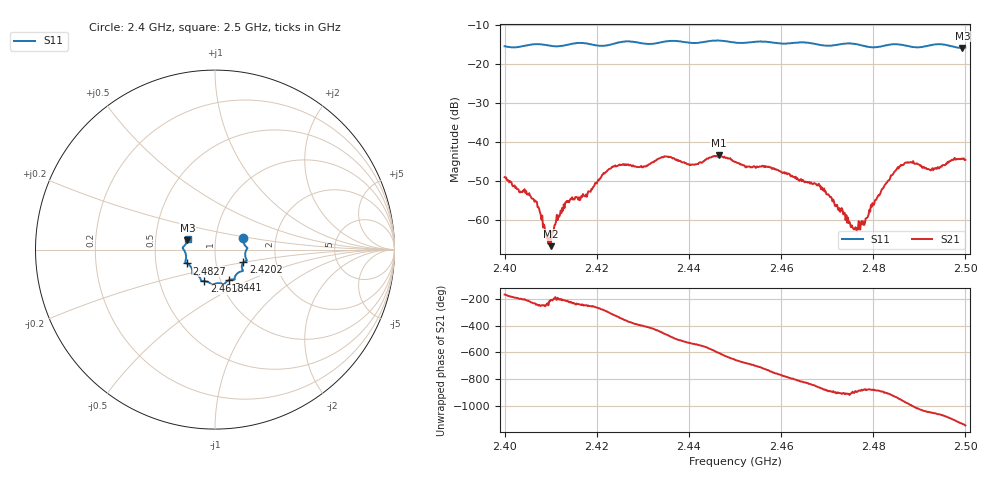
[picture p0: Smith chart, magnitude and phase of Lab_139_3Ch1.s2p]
# Hz S RI R 50
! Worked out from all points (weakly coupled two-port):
!   601 points, 2.4 GHz to 2.5 GHz, reference 50 ohm
!   highest |S21| = -43.47 dB at 2.4465 GHz (marker M1); lowest = -66.8 dB at 2.41 GHz (marker M2)
!   lowest |S11| = -15.8 dB at 2.4993 GHz (marker M3), VSWR 1.39, Z = 36.5 + j3.85 ohm
!   |S11| at or under -10 dB: start of sweep to end of sweep
!   S12 and S22 are empty: the file has one direction only
!   S11 on the Smith chart (normalised r, x): 2.4 GHz: 1.36, +0.18; 2.4202 GHz: 1.36, -0.20; 2.441 GHz: 1.10, -0.39; 2.4618 GHz: 0.84, -0.30; 2.4827 GHz: 0.72, -0.11; 2.5 GHz: 0.73, +0.09
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2.4e9  0.1581 0.0628  -0.00347 -0.00063  0 0  0 0
2.4065e9  0.1804 0.0102  -0.000981 0.00139  0 0  0 0
2.409333e9  0.1749 -0.000747  -0.000337 0.000484  0 0  0 0
2.41e9  0.1721 -0.00645  -0.000398 0.000223  0 0  0 0
2.413333e9  0.1704 -0.0432  -0.00133 0.001  0 0  0 0
2.416667e9  0.1774 -0.0607  -0.000725 0.00189  0 0  0 0
2.420167e9  0.1581 -0.0712  -0.00011 0.0031  0 0  0 0
2.423667e9  0.1503 -0.1044  0.00381 0.00304  0 0  0 0
2.433333e9  0.1115 -0.1511  0.00109 -0.00598  0 0  0 0
2.441e9  0.0784 -0.1697  -0.00509 -0.000253  0 0  0 0
2.4465e9  0.0491 -0.1955  -0.0029 0.00604  0 0  0 0
2.45e9  0.0281 -0.1874  0.00242 0.00495  0 0  0 0
2.461833e9  -0.0595 -0.1757  0.00133 -0.00364  0 0  0 0
2.466667e9  -0.0786 -0.1682  -0.00147 -0.00253  0 0  0 0
2.476167e9  -0.1274 -0.1298  -0.000778 -0.000185  0 0  0 0
2.4785e9  -0.1281 -0.1102  -0.000991 -0.000339  0 0  0 0
2.482667e9  -0.1565 -0.0771  -0.00286 -1.87e-05  0 0  0 0
2.483333e9  -0.1608 -0.0752  -0.00318 0.000368  0 0  0 0
2.487167e9  -0.1628 -0.0584  -0.00147 0.00521  0 0  0 0
2.4925e9  -0.1758 0.00195  0.00363 0.00231  0 0  0 0
2.499333e9  -0.1537 0.0514  0.00373 -0.00475  0 0  0 0
2.5e9  -0.1521 0.0609  0.00262 -0.00526  0 0  0 0
